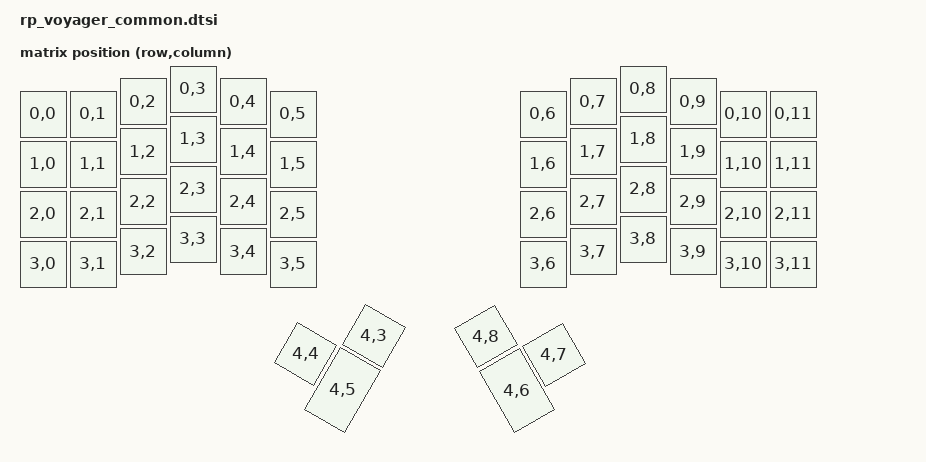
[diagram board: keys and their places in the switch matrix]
#include <dt-bindings/zmk/matrix_transform.h>
#include <physical_layouts.dtsi>

/ {
	chosen {
		zephyr,code-partition = &code_partition;
		zephyr,console = &uart0;
		zephyr,flash = &flash0;
		zephyr,sram = &sram0;
		zmk,kscan = &kscan0;
		zmk,physical_layout = &physical_layout0;
		zmk,underglow = &led_strip;
		zmk,wired_split = &wired_split;
	};

	default_transform: keymap_transform_0 {
		compatible = "zmk,matrix-transform";
		columns = <12>;
		rows = <5>;
		/* The keymap covers both 6-column halves; only local thumb columns 3-5 exist. */
		// dts-format off
		map = <RC(0,0) RC(0,1) RC(0,2) RC(0,3) RC(0,4) RC(0,5)   RC(0,6) RC(0,7) RC(0,8) RC(0,9) RC(0,10) RC(0,11)
			   RC(1,0) RC(1,1) RC(1,2) RC(1,3) RC(1,4) RC(1,5)   RC(1,6) RC(1,7) RC(1,8) RC(1,9) RC(1,10) RC(1,11)
			   RC(2,0) RC(2,1) RC(2,2) RC(2,3) RC(2,4) RC(2,5)   RC(2,6) RC(2,7) RC(2,8) RC(2,9) RC(2,10) RC(2,11)
			   RC(3,0) RC(3,1) RC(3,2) RC(3,3) RC(3,4) RC(3,5)   RC(3,6) RC(3,7) RC(3,8) RC(3,9) RC(3,10) RC(3,11)
			                           RC(4,3) RC(4,4) RC(4,5)   RC(4,6) RC(4,7) RC(4,8)>;
		// dts-format on
	};

	physical_layout0: physical_layout_0 {
		compatible = "zmk,physical-layout";
		display-name = "Default layout";
		transform = <&default_transform>;
		// dts-format off
		keys
		//                           w   h    x    y     rot    rx    ry
		    = <&key_physical_attrs 100 100    0   50       0     0     0> // row 1
            , <&key_physical_attrs 100 100  100   50       0     0     0>
            , <&key_physical_attrs 100 100  200   25       0     0     0>
            , <&key_physical_attrs 100 100  300    0       0     0     0>
            , <&key_physical_attrs 100 100  400   25       0     0     0>
            , <&key_physical_attrs 100 100  500   50       0     0     0>
            , <&key_physical_attrs 100 100 1000   50       0     0     0>
            , <&key_physical_attrs 100 100 1100   25       0     0     0>
            , <&key_physical_attrs 100 100 1200    0       0     0     0>
            , <&key_physical_attrs 100 100 1300   25       0     0     0>
            , <&key_physical_attrs 100 100 1400   50       0     0     0>
            , <&key_physical_attrs 100 100 1500   50       0     0     0>
            , <&key_physical_attrs 100 100    0  150       0     0     0> // row 2
            , <&key_physical_attrs 100 100  100  150       0     0     0>
            , <&key_physical_attrs 100 100  200  125       0     0     0>
            , <&key_physical_attrs 100 100  300  100       0     0     0>
            , <&key_physical_attrs 100 100  400  125       0     0     0>
            , <&key_physical_attrs 100 100  500  150       0     0     0>
            , <&key_physical_attrs 100 100 1000  150       0     0     0>
            , <&key_physical_attrs 100 100 1100  125       0     0     0>
            , <&key_physical_attrs 100 100 1200  100       0     0     0>
            , <&key_physical_attrs 100 100 1300  125       0     0     0>
            , <&key_physical_attrs 100 100 1400  150       0     0     0>
            , <&key_physical_attrs 100 100 1500  150       0     0     0>
            , <&key_physical_attrs 100 100    0  250       0     0     0> // row 3
            , <&key_physical_attrs 100 100  100  250       0     0     0>
            , <&key_physical_attrs 100 100  200  225       0     0     0>
            , <&key_physical_attrs 100 100  300  200       0     0     0>
            , <&key_physical_attrs 100 100  400  225       0     0     0>
            , <&key_physical_attrs 100 100  500  250       0     0     0>
            , <&key_physical_attrs 100 100 1000  250       0     0     0>
            , <&key_physical_attrs 100 100 1100  225       0     0     0>
            , <&key_physical_attrs 100 100 1200  200       0     0     0>
            , <&key_physical_attrs 100 100 1300  225       0     0     0>
            , <&key_physical_attrs 100 100 1400  250       0     0     0>
            , <&key_physical_attrs 100 100 1500  250       0     0     0>
            , <&key_physical_attrs 100 100    0  350       0     0     0> // row 4
            , <&key_physical_attrs 100 100  100  350       0     0     0>
            , <&key_physical_attrs 100 100  200  325       0     0     0>
            , <&key_physical_attrs 100 100  300  300       0     0     0>
            , <&key_physical_attrs 100 100  400  325       0     0     0>
            , <&key_physical_attrs 100 100  500  350       0     0     0>
            , <&key_physical_attrs 100 100 1000  350       0     0     0>
            , <&key_physical_attrs 100 100 1100  325       0     0     0>
            , <&key_physical_attrs 100 100 1200  300       0     0     0>
            , <&key_physical_attrs 100 100 1300  325       0     0     0>
            , <&key_physical_attrs 100 100 1400  350       0     0     0>
            , <&key_physical_attrs 100 100 1500  350       0     0     0>
            , <&key_physical_attrs 100 100  700  450    3000   650   450> // thumb cluster
            , <&key_physical_attrs 100 100  600  550    3000   650   450>
            , <&key_physical_attrs 100 150  700  550    3000   650   450>
            , <&key_physical_attrs 100 150  800  725 (-3000)   650   450>
            , <&key_physical_attrs 100 100  900  725 (-3000)   650   450>
            , <&key_physical_attrs 100 100  800  625 (-3000)   650   450>
            ;		// dts-format on
	};

	encoder: encoder {
		compatible = "alps,ec11";
		steps = <80>;
		status = "disabled";
	};

	encoder_slot: encoder_slot {
		status = "disabled";
	};

	sensors: sensors {
		compatible = "zmk,keymap-sensors";
		sensors = <&encoder>;
		triggers-per-rotation = <20>;
	};

	kscan0: kscan {
		compatible = "zmk,kscan-gpio-matrix";
		wakeup-source;
		diode-direction = "col2row";
		/* row-gpios and col-gpios are defined in per-board DTS */
	};

	wired_split: wired_split {
		compatible = "zmk,wired-split";
		device = <&uart0>;
	};
};

&pio0 {
	status = "okay";

	pio_ws2812: pio_ws2812 {
		compatible = "worldsemi,ws2812-rpi_pico-pio";
		pinctrl-0 = <&ws2812_pio_default>;
		pinctrl-names = "default";
		bit-waveform = <3>, <3>, <4>;

		led_strip: ws2812 {
			gpios = <&gpio0 25 GPIO_ACTIVE_HIGH>;  /* placeholder pin */
			chain-length = <26>;
			color-mapping = <LED_COLOR_ID_GREEN>,
							<LED_COLOR_ID_RED>,
							<LED_COLOR_ID_BLUE>;
			reset-delay = <280>;
			frequency = <800000>;
		};
	};
};
